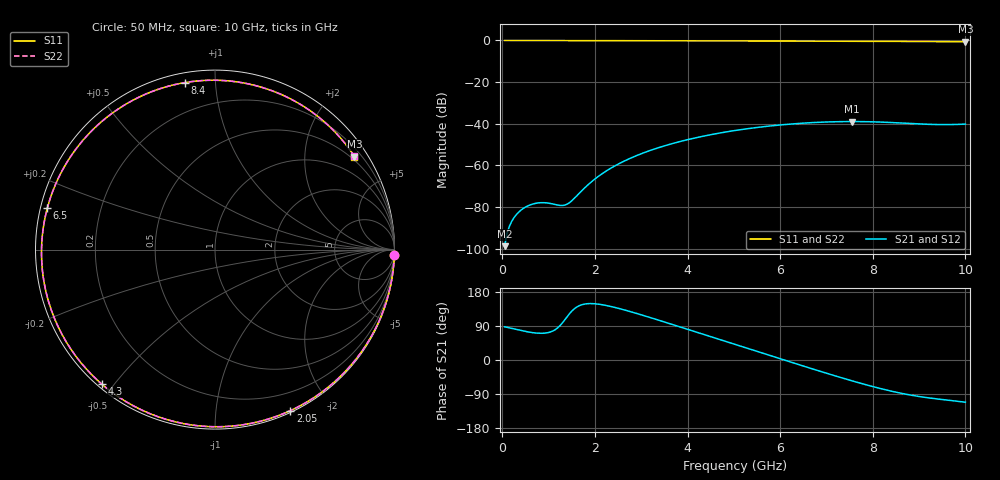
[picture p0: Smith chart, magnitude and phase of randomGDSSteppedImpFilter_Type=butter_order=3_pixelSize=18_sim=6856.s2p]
! freq	dB(S11)	phase(S11)	dB(S12)	phase(S12)
!  dB(S21)	phase(S21)	dB(S22)	phase(S22)
!S-par simulation data
#  GHz  S  DB  R 50
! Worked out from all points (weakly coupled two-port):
!   200 points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, 50 MHz to 10 GHz, reference 50 ohm
!   highest |S21| = -38.91 dB at 7.55 GHz (marker M1); lowest = -98.7 dB at 50 MHz (marker M2)
!   lowest |S11| = -0.6 dB at 10 GHz (marker M3), VSWR 29.37, Z = 20 + j163 ohm
!   |S11| at or under -10 dB: nowhere
!   |S22| runs from -0.6 to 0.0 dB; largest |S21 - S12| = 0
!   S11 on the Smith chart (normalised r, x): 50 MHz: 1, -69; 2.05 GHz: 0.02, -1.57; 4.3 GHz: 0.01, -0.47; 6.5 GHz: 0.02, +0.12; 8.4 GHz: 0.05, +0.84; 10 GHz: 0.40, +3.25
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0.05  -0.00 -1.7  -98.72 87.6  -98.72 87.6  -0.00 -1.7
0.5  -0.02 -16.3  -79.98 75.3  -79.98 75.3  -0.02 -16.3
0.85  -0.03 -27.5  -77.85 70.5  -77.85 70.5  -0.03 -27.5
1.35  -0.05 -43.4  -79.00 106.0  -79.00 106.0  -0.05 -43.4
1.5  -0.06 -48.1  -76.95 128.8  -76.95 128.8  -0.06 -48.0
1.75  -0.07 -55.8  -71.37 146.9  -71.37 146.9  -0.07 -55.8
2.05  -0.08 -65.0  -65.63 147.8  -65.63 147.8  -0.08 -64.9
2.65  -0.11 -82.9  -57.70 131.7  -57.70 131.7  -0.11 -82.9
3.4  -0.14 -104.6  -51.27 104.2  -51.27 104.2  -0.14 -104.6
4.3  -0.18 -130.0  -46.12 69.3  -46.12 69.3  -0.18 -130.0
5.05  -0.22 -151.1  -43.13 40.1  -43.13 40.1  -0.22 -151.1
5.8  -0.28 -172.7  -41.00 10.9  -41.00 10.9  -0.28 -172.6
6.5  -0.33 166.2  -39.68 -16.0  -39.68 -16.0  -0.33 166.2
6.7  -0.35 159.9  -39.42 -23.6  -39.42 -23.6  -0.35 160.0
7.1  -0.38 146.9  -39.06 -38.6  -39.06 -38.6  -0.38 147.0
7.55  -0.42 131.6  -38.91 -54.9  -38.91 -54.9  -0.42 131.6
8.35  -0.48 102.1  -39.33 -80.8  -39.33 -80.8  -0.48 102.2
8.4  -0.49 100.1  -39.38 -82.2  -39.38 -82.2  -0.49 100.2
8.8  -0.51 84.3  -39.84 -92.2  -39.84 -92.2  -0.51 84.4
9.2  -0.54 67.8  -40.24 -99.9  -40.24 -99.9  -0.54 67.9
9.6  -0.56 50.9  -40.38 -105.7  -40.38 -105.7  -0.56 51.0
10  -0.59 33.7  -40.14 -111.4  -40.14 -111.4  -0.59 33.9
